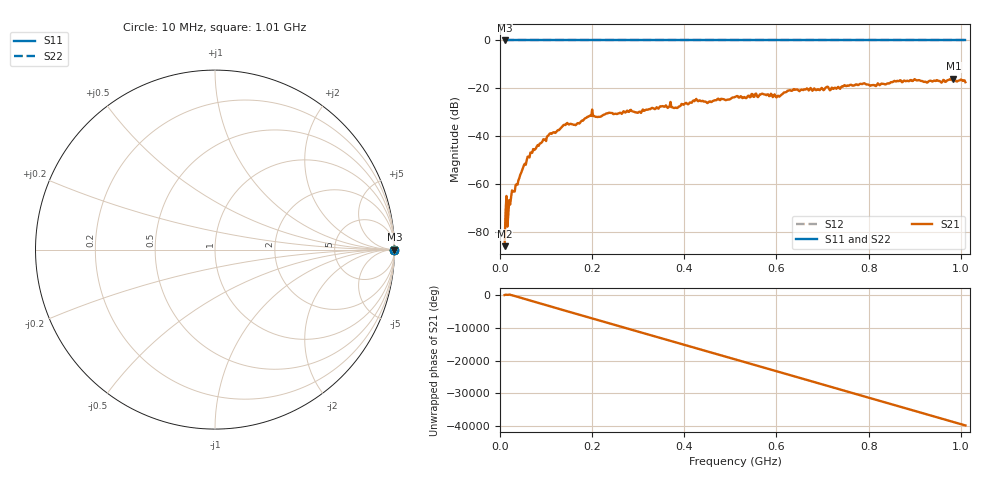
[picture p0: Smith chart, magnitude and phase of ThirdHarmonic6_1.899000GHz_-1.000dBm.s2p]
! 8/16/2025 10:55:30 PM
! C:\ANRITSUVNA\TEMP\TEMP.S2P
! CHANNEL.1
! TR.MEASUREMENT
! RAW.DATA
! RF.CORRECTION.OFF
! AVERAGING.OFF
! IF.BANDWIDTH: 5KHZ
! SWEEPTYPE:  FREQ.SWEEP(Linear)
! Reference Plane Port Info
! PORT:  PORT1  PORT2
! DISTANCE:  0  m  0  m
! TIME:  0  s  0  s
! PHASE.OFFSET:  0  deg.  0  deg.
! LOSS:  0  dB  0  dB
! REF.LOSS:  0  dB  0  dB
! REF.FREQ:  0  Hz  0  Hz
! Power Info
! POWER:  -20  dBm  -20  dBm
! EFF.POWER:  -20  dBm  -20  dBm
! SOURCE.ATTEN:  0  dB  0  dB
! TEST.ATTEN:  0  dB  0  dB
# GHZ S RI R 50.0
! FREQ.GHZ  S11RE  S11IM  S21RE  S21IM  S12RE  S12IM  S22RE  S22IM
!; PortSelection: Port_12
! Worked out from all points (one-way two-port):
!   501 points, 10 MHz to 1.01 GHz, reference 50 ohm
!   highest |S21| = -15.95 dB at 984 MHz (marker M1); lowest = -86.1 dB at 10 MHz (marker M2)
!   lowest |S11| = 0.0 dB at 10 MHz (marker M3)
!   |S11| at or under -10 dB: nowhere
!   |S22| runs from 0.0 to 0.0 dB; largest |S21 - S12| = 1.2
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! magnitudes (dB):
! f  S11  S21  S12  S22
! 10 MHz  0.0  -86.1  0.0  0.0
! 16 MHz  0.0  -78.0  0.0  0.0
! 20 MHz  0.0  -66.8  0.0  0.0
! 24 MHz  0.0  -65.6  0.0  0.0
! 50 MHz  0.0  -53.3  0.0  0.0
! 70 MHz  0.0  -47.0  0.0  0.0
! 106 MHz  0.0  -39.5  0.0  0.0
! 142 MHz  0.0  -35.4  0.0  0.0
! 178 MHz  0.0  -33.5  0.0  0.0
! 196 MHz  0.0  -31.4  0.0  0.0
! 214 MHz  0.0  -32.0  0.0  0.0
! 344 MHz  0.0  -28.6  0.0  0.0
! 382 MHz  0.0  -28.1  0.0  0.0
! 422 MHz  0.0  -25.4  0.0  0.0
! 454 MHz  0.0  -25.5  0.0  0.0
! 510 MHz  0.0  -23.7  0.0  0.0
! 602 MHz  0.0  -23.2  0.0  0.0
! 628 MHz  0.0  -20.9  0.0  0.0
! 678 MHz  0.0  -21.1  0.0  0.0
! 844 MHz  0.0  -18.1  0.0  0.0
! 984 MHz  0.0  -16.0  0.0  0.0
! 1.01 GHz  0.0  -17.5  0.0  0.0
